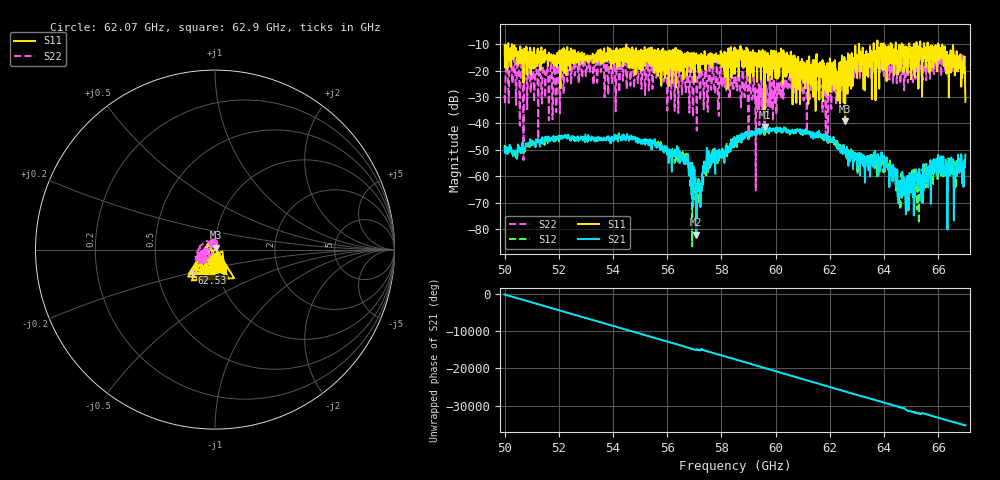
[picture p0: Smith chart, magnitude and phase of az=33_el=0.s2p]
!Created with skrf (http://scikit-rf.org).
# GHz S RI R 50.0
!freq ReS11 ImS11 ReS21 ImS21 ReS12 ImS12 ReS22 ImS22
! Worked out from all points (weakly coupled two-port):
!   1001 points, 50 GHz to 67 GHz, reference 50 ohm
!   highest |S21| = -41.35 dB at 59.61 GHz (marker M1); lowest = -82.1 dB at 57.07 GHz (marker M2)
!   lowest |S11| = -39.2 dB at 62.56 GHz (marker M3), VSWR 1.02, Z = 50.3 + j1.06 ohm
!   |S11| at or under -10 dB: 50.27 GHz to 63.07 GHz (12.8 GHz wide, 22.6 % of centre); 63.07 GHz to 63.62 GHz (541.5 MHz wide, 0.855 % of centre); 66 GHz to end of sweep (the widest 3 of 18)
!   |S22| runs from -65.4 to -13.7 dB; largest |S21 - S12| = 0.0025
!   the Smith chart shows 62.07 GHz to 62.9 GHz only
!   S11 on the Smith chart (normalised r, x): 62.07 GHz: 1.02, -0.11; 62.53 GHz: 0.75, -0.20; 62.9 GHz: 1.07, -0.21
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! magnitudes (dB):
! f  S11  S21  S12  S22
! 50 GHz  -10.3  -49.2  -48.1  -29.2
! 50.29 GHz  -15.7  -51.4  -51.2  -24.9
! 50.63 GHz  -13.2  -50.9  -49.5  -16.5
! 51.5 GHz  -12.0  -45.0  -45.9  -30.3
! 51.84 GHz  -18.2  -46.0  -45.6  -16.2
! 52.84 GHz  -14.4  -45.3  -45.2  -20.3
! 55.68 GHz  -13.8  -48.0  -48.1  -17.8
! 56.66 GHz  -13.5  -52.9  -51.6  -24.9
! 57.07 GHz  -13.5  -82.1  -63.7  -25.9
! 57.4 GHz  -14.1  -54.6  -56.0  -21.0
! 58.5 GHz  -21.2  -48.0  -48.4  -19.9
! 59.61 GHz  -12.9  -41.4  -42.5  -28.7
! 61.34 GHz  -24.5  -44.3  -44.3  -24.5
! 62.07 GHz  -25.4  -46.4  -47.0  -28.3
! 62.53 GHz  -14.8  -49.9  -50.2  -19.1
! 62.56 GHz  -39.2  -50.7  -50.3  -19.5
! 62.9 GHz  -19.4  -51.1  -52.3  -22.7
! 64.18 GHz  -17.7  -58.4  -57.9  -19.0
! 64.89 GHz  -17.5  -66.6  -73.0  -23.3
! 66.08 GHz  -15.1  -52.8  -56.9  -16.1
! 66.9 GHz  -16.5  -56.5  -57.5  -14.9
! 67 GHz  -31.8  -51.8  -53.4  -14.4
